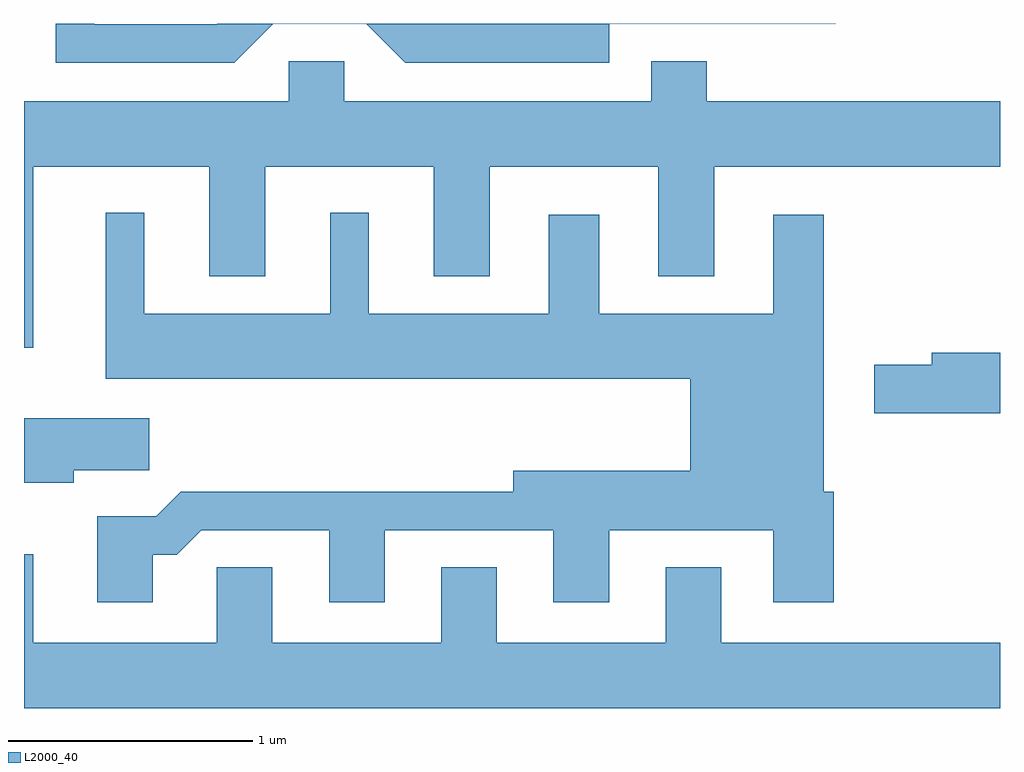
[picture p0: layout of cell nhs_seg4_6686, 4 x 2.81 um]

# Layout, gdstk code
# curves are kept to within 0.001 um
import gdstk
lib = gdstk.Library(unit=1e-6, precision=1e-09)
def P(c, l, *ps):  # polygons
    for p in ps: c.add(gdstk.Polygon(p, *l))
L2000_40 = (2000, 40)

nhs_seg4_6686 = lib.new_cell('nhs_seg4_6686')
P(nhs_seg4_6686, L2000_40, [(382.632,1301.981),(383.014,1301.981),(383.174,1301.821),(384.009,1301.821),(384.009,1301.981),(384.938,1301.982),(382.402,1301.982),(382.399,1301.979),(381.899,1301.979),(381.899,1301.982),(381.741,1301.982),(381.741,1301.821),(382.472,1301.821)],
  [(381.649,1301.396),(382.371,1301.396),(382.371,1300.946),(382.599,1300.946),(382.599,1301.396),(383.291,1301.396),(383.291,1300.946),(383.519,1300.946),(383.519,1301.396),(384.211,1301.396),(384.211,1300.946),(384.439,1300.946),(384.439,1301.396),(385.611,1301.396),(385.611,1301.664),(384.409,1301.664),(384.409,1301.829),(384.181,1301.829),(384.181,1301.664),(382.924,1301.664),(382.924,1301.829),(382.696,1301.829),(382.696,1301.664),(381.611,1301.664),(381.611,1300.653),(381.649,1300.653)],
  [(382.139,1299.806),(382.237,1299.806),(382.337,1299.906),(382.861,1299.906),(382.861,1299.611),(383.089,1299.611),(383.089,1299.906),(383.781,1299.906),(383.781,1299.611),(384.009,1299.611),(384.009,1299.906),(384.681,1299.906),(384.681,1299.611),(384.929,1299.611),(384.929,1300.064),(384.889,1300.064),(384.889,1301.199),(384.681,1301.199),(384.681,1300.794),(383.969,1300.794),(383.969,1301.199),(383.761,1301.199),(383.761,1300.794),(383.024,1300.794),(383.024,1301.208),(382.866,1301.208),(382.866,1300.794),(382.104,1300.794),(382.104,1301.208),(381.946,1301.208),(381.946,1300.526),(384.341,1300.526),(384.341,1300.149),(383.616,1300.149),(383.616,1300.064),(382.254,1300.064),(382.154,1299.964),(381.911,1299.964),(381.911,1299.611),(382.139,1299.611)],
  [(385.611,1300.634),(385.331,1300.634),(385.331,1300.584),(385.096,1300.584),(385.096,1300.386),(385.611,1300.386)],
  [(381.814,1300.151),(382.124,1300.151),(382.124,1300.364),(381.611,1300.364),(381.611,1300.101),(381.814,1300.101)],
  [(385.611,1299.444),(384.469,1299.444),(384.469,1299.754),(384.241,1299.754),(384.241,1299.444),(383.549,1299.444),(383.549,1299.754),(383.321,1299.754),(383.321,1299.444),(382.629,1299.444),(382.629,1299.754),(382.401,1299.754),(382.401,1299.444),(381.649,1299.444),(381.649,1299.808),(381.611,1299.808),(381.611,1299.176),(385.611,1299.176)])

lib.write_gds('nhs_seg4_6686.gds')
